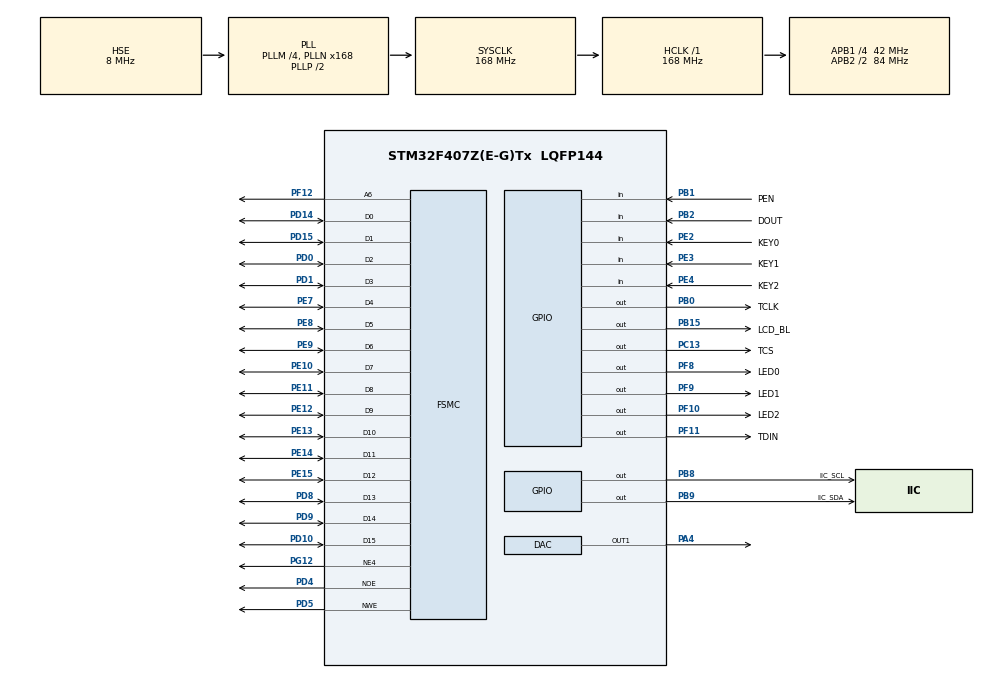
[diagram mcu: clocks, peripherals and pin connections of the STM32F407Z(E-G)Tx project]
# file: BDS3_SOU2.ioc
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Mcu.Family=STM32F4
FSMC.AddressSetupTime1=0x0f
PE7.GPIO_PuPd=GPIO_PULLUP
PH0-OSC_IN.Signal=RCC_OSC_IN
RCC.CortexFreq_Value=168000000
SH.FSMC_D1_DA1.0=FSMC_D1,16b-d1
SH.FSMC_A6.0=FSMC_A6,A6_1
SH.FSMC_NWE.0=FSMC_NWE,Lcd1
PE8.GPIO_PuPd=GPIO_PULLUP
SH.FSMC_D0_DA0.0=FSMC_D0,16b-d1
PE10.GPIO_PuPd=GPIO_PULLUP
PF9.GPIO_Speed=GPIO_SPEED_FREQ_VERY_HIGH
PB0.GPIO_Label=TCLK
PD10.GPIO_PuPd=GPIO_PULLUP
FSMC.ExtendedBusTurnAroundDuration1=0
PD8.GPIO_PuPd=GPIO_PULLUP
PF10.GPIO_PuPd=GPIO_PULLUP
PB15.Signal=GPIO_Output
PF8.PinState=GPIO_PIN_SET
RCC.SYSCLKSource=RCC_SYSCLKSOURCE_PLLCLK
ProjectManager.StackSize=0x400
SH.COMP_DAC2_group.0=DAC_OUT2
PD0.GPIO_Speed_High_Default=GPIO_SPEED_FREQ_VERY_HIGH
PE11.GPIO_PuPd=GPIO_PULLUP
PB1.GPIO_PuPd=GPIO_PULLUP
RCC.HCLKFreq_Value=168000000
PD4.Signal=FSMC_NOE
RCC.APB2TimFreq_Value=168000000
PF11.GPIO_Label=TDIN
PF12.Signal=FSMC_A6
PD0.Signal=FSMC_D2_DA2
PD8.Signal=FSMC_D13_DA13
PF10.GPIO_Label=LED2
RCC.AHBFreq_Value=168000000
PH0-OSC_IN.Mode=HSE-External-Oscillator
RCC.HSE_VALUE=8000000
PB2.Signal=GPIO_Input
PC13-ANTI_TAMP.Signal=GPIO_Output
PE13.GPIO_PuPd=GPIO_PULLUP
PE13.Signal=FSMC_D10_DA10
SH.FSMC_D14_DA14.0=FSMC_D14,16b-d1
SH.FSMC_D10_DA10.0=FSMC_D10,16b-d1
PF8.GPIO_PuPd=GPIO_PULLUP
PE9.Signal=FSMC_D6_DA6
PA14.Mode=Serial_Wire
PF11.Signal=GPIO_Output
PB1.GPIO_Label=PEN
SH.FSMC_D6_DA6.0=FSMC_D6,16b-d1
PE4.GPIO_Label=KEY2
PE2.Signal=GPIO_Input
PD14.GPIO_PuPd=GPIO_PULLUP
FSMC.BusTurnAroundDuration1=0
PE4.Signal=GPIO_Input
PE10.Signal=FSMC_D7_DA7
SH.FSMC_D5_DA5.0=FSMC_D5,16b-d1
PB2.GPIO_PuPd=GPIO_PULLUP
SH.FSMC_D4_DA4.0=FSMC_D4,16b-d1
PH1-OSC_OUT.Mode=HSE-External-Oscillator
Mcu.Package=LQFP144
PB9.Signal=GPIO_Output
PB1.Signal=GPIO_Input
PB15.GPIO_PuPd=GPIO_PULLUP
PD15.GPIO_PuPd=GPIO_PULLUP
SH.FSMC_D13_DA13.0=FSMC_D13,16b-d1
PB9.GPIO_PuPd=GPIO_PULLUP
PF8.Signal=GPIO_Output
TIM8.Prescaler=43-1
RCC.APB2CLKDivider=RCC_HCLK_DIV2
PB9.GPIO_Speed=GPIO_SPEED_FREQ_VERY_HIGH
SH.FSMC_D3_DA3.0=FSMC_D3,16b-d1
PG12.GPIO_PuPd=GPIO_PULLUP
RCC.APB1TimFreq_Value=84000000
SH.FSMC_D2_DA2.0=FSMC_D2,16b-d1
PE7.Signal=FSMC_D4_DA4
PF9.GPIO_PuPd=GPIO_PULLUP
PD9.GPIO_PuPd=GPIO_PULLUP
PE2.GPIO_Label=KEY0
PD15.Signal=FSMC_D1_DA1
PE12.GPIO_PuPd=GPIO_PULLUP
PG12.Signal=FSMC_NE4
RCC.PLLSourceVirtual=RCC_PLLSOURCE_HSE
FSMC.ExtendedAddressSetupTime1=9
SH.COMP_DAC1_group.0=DAC_OUT1,DAC_OUT1
SH.FSMC_D12_DA12.0=FSMC_D12,16b-d1
PB9.GPIO_Label=IIC_SDA
PC13-ANTI_TAMP.GPIO_PuPd=GPIO_NOPULL
PC13-ANTI_TAMP.GPIO_Label=TCS
FSMC.ExtendedMode1=FSMC_EXTENDED_MODE_ENABLE
PB8.GPIO_PuPd=GPIO_PULLUP
PF10.GPIO_Speed=GPIO_SPEED_FREQ_VERY_HIGH
PD1.Signal=FSMC_D3_DA3
SH.FSMC_D9_DA9.0=FSMC_D9,16b-d1
PD9.Signal=FSMC_D14_DA14
PD5.Signal=FSMC_NWE
PD1.GPIO_PuPd=GPIO_PULLUP
RCC.APB1CLKDivider=RCC_HCLK_DIV4
SH.FSMC_D8_DA8.0=FSMC_D8,16b-d1
PF8.GPIO_Label=LED0
PB0.GPIO_Speed=GPIO_SPEED_FREQ_VERY_HIGH
PF11.GPIO_Speed=GPIO_SPEED_FREQ_VERY_HIGH
PD10.Signal=FSMC_D15_DA15
PA13.Signal=SYS_JTMS-SWDIO
PB8.GPIO_Label=IIC_SCL
PD4.GPIO_PuPd=GPIO_PULLUP
ProjectManager.TargetToolchain=STM32CubeIDE
FSMC.DataSetupTime1=60
PF9.PinState=GPIO_PIN_SET
VP_TIM8_VS_ClockSourceINT.Mode=Internal
PF9.GPIO_Label=LED1
PE11.Signal=FSMC_D8_DA8
RCC.LSE_VALUE=32768
PA5.Signal=COMP_DAC2_group
PE2.GPIO_PuPd=GPIO_PULLUP
SH.FSMC_D7_DA7.0=FSMC_D7,16b-d1
FSMC.ExtendedDataSetupTime1=8
TIM8.AutoReloadPreload=TIM_AUTORELOAD_PRELOAD_ENABLE
board=custom
PG12.Mode=NorPsramChipSelect4_1
RCC.VCOOutputFreq_Value=336000000
RCC.APB2Freq_Value=84000000
PE14.Signal=FSMC_D11_DA11
PE15.Signal=FSMC_D12_DA12
PB15.GPIO_Label=LCD_BL
PE8.Signal=FSMC_D5_DA5
PF10.Signal=GPIO_Output
PB15.GPIO_Speed=GPIO_SPEED_FREQ_MEDIUM
PH1-OSC_OUT.Signal=RCC_OSC_OUT
PE3.GPIO_PuPd=GPIO_PULLUP
PD5.GPIO_PuPd=GPIO_PULLUP
PE14.GPIO_PuPd=GPIO_PULLUP
PA13.Mode=Serial_Wire
Mcu.Name=STM32F407Z(E-G)Tx
PE12.Signal=FSMC_D9_DA9
PE4.GPIO_PuPd=GPIO_PULLUP
TIM8.Period=16-1
PD14.Signal=FSMC_D0_DA0
RCC.48MHZClocksFreq_Value=84000000
PA4.Signal=COMP_DAC1_group
RCC.SYSCLKFreq_VALUE=168000000
SH.FSMC_D15_DA15.0=FSMC_D15,16b-d1
PA14.Signal=SYS_JTCK-SWCLK
PB2.GPIO_Label=DOUT
PE15.GPIO_PuPd=GPIO_PULLUP
ProjectManager.HeapSize=0x200
SH.FSMC_D11_DA11.0=FSMC_D11,16b-d1
PD0.GPIO_PuPd=GPIO_PULLUP
SH.FSMC_NOE.0=FSMC_NOE,Lcd1
PF9.Signal=GPIO_Output
RCC.HSI_VALUE=16000000
NVIC.TIM8_UP_TIM13_IRQn=true\:0\:0\:false\:false\:true\:true\:true
NVIC.PriorityGroup=NVIC_PRIORITYGROUP_2
RCC.PLLM=4
RCC.PLLN=168
PF8.GPIO_Speed=GPIO_SPEED_FREQ_VERY_HIGH
PE3.Signal=GPIO_Input
PF12.GPIO_PuPd=GPIO_PULLUP
PB8.Signal=GPIO_Output
PE3.GPIO_Label=KEY1
RCC.APB1Freq_Value=42000000
PB8.GPIO_Speed=GPIO_SPEED_FREQ_VERY_HIGH
PF10.PinState=GPIO_PIN_SET
PB0.Signal=GPIO_Output
PB0.GPIO_PuPd=GPIO_PULLUP
PE9.GPIO_PuPd=GPIO_PULLUP

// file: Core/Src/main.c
/* USER CODE BEGIN Header */
/**
  ******************************************************************************
  * @file           : main.c
  * @brief          : Main program body
  ******************************************************************************
  * @attention
  *
  * <h2><center>&copy; Copyright (c) 2021 STMicroelectronics.
  * All rights reserved.</center></h2>
  *
  * This software component is licensed by ST under BSD 3-Clause license,
  * the "License"; You may not use this file except in compliance with the
  * License. You may obtain a copy of the License at:
  *                        opensource.org/licenses/BSD-3-Clause
  *
  ******************************************************************************
  */
/* USER CODE END Header */
#include "main.h"
#include "dac.h"
#include "tim.h"
#include "gpio.h"
#include "fsmc.h"

/* USER CODE BEGIN Includes */
#include "lcd.h"
#include "touch.h"
/* USER CODE END Includes */

void SystemClock_Config(void);
/* USER CODE BEGIN PFP */
u8 TP_CHECK(u16 x0, u16 y0, u16 x1, u16 y1);
/* USER CODE END PFP */

/* USER CODE BEGIN 0 */
uint8_t BOOST = 1;
uint32_t ADC_CAP = 0;
uint16_t pressTime = 0;
uint8_t presStatus = 0; //标记按键是否按下，防止连
uint8_t flagaa=0;
// uint8_t PRE_BOOST;
/* USER CODE END 0 */

int main(void)
{

  /* MCU Configuration--------------------------------------------------------*/

  /* Reset of all peripherals, Initializes the Flash interface and the Systick. */
  HAL_Init();

  /* Configure the system clock */
  SystemClock_Config();

  /* Initialize all configured peripherals */
  MX_GPIO_Init();
  MX_DAC_Init();
  MX_FSMC_Init();
  MX_TIM8_Init();
  /* USER CODE BEGIN 2 */
  HAL_TIM_Base_Start_IT(&htim8);
  HAL_DAC_Start(&hdac,DAC1_CHANNEL_1);

  delay_init(168);
  LCD_Init();
	tp_dev.init();

  POINT_COLOR = RED;

  /* USER CODE END 2 */

  /* Infinite loop */
  while (1)
  {

    /* USER CODE BEGIN 3 */
	  tp_dev.scan(0);
	  LCD_DrawRectangle(50, 50, 100, 100);
	  if(tp_dev.x[0]>50&&tp_dev.y[0]>50&&tp_dev.x[0]<100&&tp_dev.y[0]<100&&flagaa==0)
	  {
		  LCD_Color_Fill(50, 50, 100, 100,GRAYBLUE);
		  flagaa=1;
	  }
	  else if(tp_dev.x[0]>50&&tp_dev.y[0]>50&&tp_dev.x[0]<100&&tp_dev.y[0]<100&&flagaa!=0)
	  {
		  LCD_Color_Fill(50, 50, 100, 100,DARKBLUE);
		  flagaa=0;
	  }
	  else {}
  }
  /* USER CODE END 3 */
}

void SystemClock_Config(void)
{
  RCC_OscInitTypeDef RCC_OscInitStruct = {0};
  RCC_ClkInitTypeDef RCC_ClkInitStruct = {0};

  /** Configure the main internal regulator output voltage
  */
  __HAL_RCC_PWR_CLK_ENABLE();
  __HAL_PWR_VOLTAGESCALING_CONFIG(PWR_REGULATOR_VOLTAGE_SCALE1);
  /** Initializes the RCC Oscillators according to the specified parameters
  * in the RCC_OscInitTypeDef structure.
  */
  RCC_OscInitStruct.OscillatorType = RCC_OSCILLATORTYPE_HSE;
  RCC_OscInitStruct.HSEState = RCC_HSE_ON;
  RCC_OscInitStruct.PLL.PLLState = RCC_PLL_ON;
  RCC_OscInitStruct.PLL.PLLSource = RCC_PLLSOURCE_HSE;
  RCC_OscInitStruct.PLL.PLLM = 4;
  RCC_OscInitStruct.PLL.PLLN = 168;
  RCC_OscInitStruct.PLL.PLLP = RCC_PLLP_DIV2;
  RCC_OscInitStruct.PLL.PLLQ = 4;
  if (HAL_RCC_OscConfig(&RCC_OscInitStruct) != HAL_OK)
  {
    Error_Handler();
  }
  /** Initializes the CPU, AHB and APB buses clocks
  */
  RCC_ClkInitStruct.ClockType = RCC_CLOCKTYPE_HCLK|RCC_CLOCKTYPE_SYSCLK
                              |RCC_CLOCKTYPE_PCLK1|RCC_CLOCKTYPE_PCLK2;
  RCC_ClkInitStruct.SYSCLKSource = RCC_SYSCLKSOURCE_PLLCLK;
  RCC_ClkInitStruct.AHBCLKDivider = RCC_SYSCLK_DIV1;
  RCC_ClkInitStruct.APB1CLKDivider = RCC_HCLK_DIV4;
  RCC_ClkInitStruct.APB2CLKDivider = RCC_HCLK_DIV2;

  if (HAL_RCC_ClockConfig(&RCC_ClkInitStruct, FLASH_LATENCY_5) != HAL_OK)
  {
    Error_Handler();
  }
}

/* USER CODE BEGIN 4 */
u8 TP_CHECK(u16 x0, u16 y0, u16 x1, u16 y1)
{
	return (tp_dev.x[0] > x0 && tp_dev.y[0] > y0 && tp_dev.x[0] < x1 && tp_dev.y[0] < y1);
}
/* USER CODE END 4 */

void Error_Handler(void)
{
  __disable_irq();
  while (1)
  {
  }
}

/************************ (C) COPYRIGHT STMicroelectronics *****END OF FILE****/
